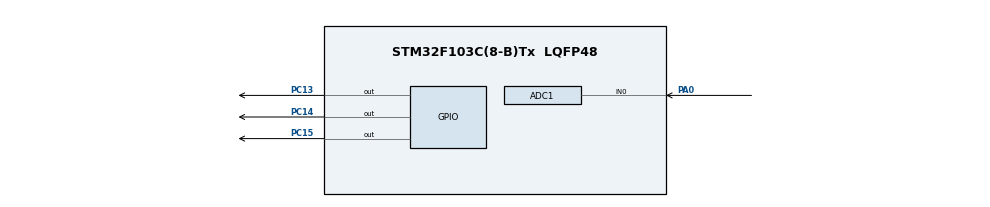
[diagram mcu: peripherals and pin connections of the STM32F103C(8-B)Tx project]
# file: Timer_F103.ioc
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Mcu.Family=STM32F1
NVIC.ADC1_2_IRQn=true\:1\:0\:true\:false\:true\:true\:true
ADC1.Rank-0\#ChannelRegularConversion=1
PD1-OSC_OUT.Mode=HSE-External-Oscillator
ADC1.ContinuousConvMode=ENABLE
PC13-TAMPER-RTC.Signal=GPIO_Output
NVIC.TIM1_UP_IRQn=true\:1\:0\:true\:false\:true\:true\:true
PD0-OSC_IN.Signal=RCC_OSC_IN
PC14-OSC32_IN.Signal=GPIO_Output
ProjectManager.StackSize=0x400
PA0-WKUP.Signal=ADCx_IN0
PD1-OSC_OUT.Signal=RCC_OSC_OUT
PA13.Signal=SYS_JTMS-SWDIO
TIM1.Prescaler=799
ProjectManager.TargetToolchain=STM32CubeIDE
PC15-OSC32_OUT.Signal=GPIO_Output
PD0-OSC_IN.Mode=HSE-External-Oscillator
ADC1.Channel-0\#ChannelRegularConversion=ADC_CHANNEL_0
board=custom
RCC.APB2Freq_Value=8000000
PA14.Mode=Serial_Wire
SH.ADCx_IN0.0=ADC1_IN0,IN0
PA13.Mode=Serial_Wire
Mcu.Name=STM32F103C(8-B)Tx
VP_TIM1_VS_ClockSourceINT.Mode=Internal
ADC1.SamplingTime-0\#ChannelRegularConversion=ADC_SAMPLETIME_239CYCLES_5
Mcu.Package=LQFP48
ADC1.master=1
PA14.Signal=SYS_JTCK-SWCLK
ProjectManager.HeapSize=0x200
NVIC.PriorityGroup=NVIC_PRIORITYGROUP_4
ADC1.NbrOfConversionFlag=1
TIM1.Period=2999
RCC.APB1Freq_Value=8000000

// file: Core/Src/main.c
/* USER CODE BEGIN Header */
/**
  ******************************************************************************
  * @file           : main.c
  * @brief          : Main program body
  ******************************************************************************
  * @attention
  *
  * <h2><center>&copy; Copyright (c) 2021 STMicroelectronics.
  * All rights reserved.</center></h2>
  *
  * This software component is licensed by ST under BSD 3-Clause license,
  * the "License"; You may not use this file except in compliance with the
  * License. You may obtain a copy of the License at:
  *                        opensource.org/licenses/BSD-3-Clause
  *
  ******************************************************************************
  */
/* USER CODE END Header */
#include "main.h"

ADC_HandleTypeDef hadc1;

TIM_HandleTypeDef htim1;

void SystemClock_Config(void);
static void MX_GPIO_Init(void);
static void MX_ADC1_Init(void);
static void MX_TIM1_Init(void);

/* USER CODE BEGIN 0 */
uint32_t adc;
volatile float temp;
uint8_t cout;
void HAL_ADC_ConvCpltCallback(ADC_HandleTypeDef* hadc){
	if(hadc->Instance == hadc1.Instance){
		adc = HAL_ADC_GetValue(hadc);
		temp = (adc*100*3.22)/4096;
		cout++;
	}
}
void HAL_TIM_PeriodElapsedCallback(TIM_HandleTypeDef *htim){
	if(htim->Instance == htim1.Instance){
		if(temp<30){
			HAL_GPIO_TogglePin(GPIOC, GPIO_PIN_15);
			HAL_GPIO_TogglePin(GPIOC, GPIO_PIN_13);
		}
	}
}
/* USER CODE END 0 */

int main(void)
{

  /* MCU Configuration--------------------------------------------------------*/

  /* Reset of all peripherals, Initializes the Flash interface and the Systick. */
  HAL_Init();

  /* Configure the system clock */
  SystemClock_Config();

  /* Initialize all configured peripherals */
  MX_GPIO_Init();
  MX_ADC1_Init();
  MX_TIM1_Init();
  /* USER CODE BEGIN 2 */
HAL_TIM_Base_Start_IT(&htim1);
HAL_ADC_Start_IT(&hadc1);
  /* USER CODE END 2 */

  /* Infinite loop */
  /* USER CODE BEGIN WHILE */
  while (1)
  {
 	  cout++;
	  HAL_GPIO_WritePin(GPIOC, GPIO_PIN_14, 1);
    /* USER CODE END WHILE */

  }
}

void SystemClock_Config(void)
{
  RCC_OscInitTypeDef RCC_OscInitStruct = {0};
  RCC_ClkInitTypeDef RCC_ClkInitStruct = {0};
  RCC_PeriphCLKInitTypeDef PeriphClkInit = {0};

  /** Initializes the RCC Oscillators according to the specified parameters
  * in the RCC_OscInitTypeDef structure.
  */
  RCC_OscInitStruct.OscillatorType = RCC_OSCILLATORTYPE_HSI;
  RCC_OscInitStruct.HSIState = RCC_HSI_ON;
  RCC_OscInitStruct.HSICalibrationValue = RCC_HSICALIBRATION_DEFAULT;
  RCC_OscInitStruct.PLL.PLLState = RCC_PLL_NONE;
  if (HAL_RCC_OscConfig(&RCC_OscInitStruct) != HAL_OK)
  {
    Error_Handler();
  }
  /** Initializes the CPU, AHB and APB buses clocks
  */
  RCC_ClkInitStruct.ClockType = RCC_CLOCKTYPE_HCLK|RCC_CLOCKTYPE_SYSCLK
                              |RCC_CLOCKTYPE_PCLK1|RCC_CLOCKTYPE_PCLK2;
  RCC_ClkInitStruct.SYSCLKSource = RCC_SYSCLKSOURCE_HSI;
  RCC_ClkInitStruct.AHBCLKDivider = RCC_SYSCLK_DIV1;
  RCC_ClkInitStruct.APB1CLKDivider = RCC_HCLK_DIV1;
  RCC_ClkInitStruct.APB2CLKDivider = RCC_HCLK_DIV1;

  if (HAL_RCC_ClockConfig(&RCC_ClkInitStruct, FLASH_LATENCY_0) != HAL_OK)
  {
    Error_Handler();
  }
  PeriphClkInit.PeriphClockSelection = RCC_PERIPHCLK_ADC;
  PeriphClkInit.AdcClockSelection = RCC_ADCPCLK2_DIV2;
  if (HAL_RCCEx_PeriphCLKConfig(&PeriphClkInit) != HAL_OK)
  {
    Error_Handler();
  }
}

static void MX_ADC1_Init(void)
{

  ADC_ChannelConfTypeDef sConfig = {0};

  /** Common config
  */
  hadc1.Instance = ADC1;
  hadc1.Init.ScanConvMode = ADC_SCAN_DISABLE;
  hadc1.Init.ContinuousConvMode = ENABLE;
  hadc1.Init.DiscontinuousConvMode = DISABLE;
  hadc1.Init.ExternalTrigConv = ADC_SOFTWARE_START;
  hadc1.Init.DataAlign = ADC_DATAALIGN_RIGHT;
  hadc1.Init.NbrOfConversion = 1;
  if (HAL_ADC_Init(&hadc1) != HAL_OK)
  {
    Error_Handler();
  }
  /** Configure Regular Channel
  */
  sConfig.Channel = ADC_CHANNEL_0;
  sConfig.Rank = ADC_REGULAR_RANK_1;
  sConfig.SamplingTime = ADC_SAMPLETIME_239CYCLES_5;
  if (HAL_ADC_ConfigChannel(&hadc1, &sConfig) != HAL_OK)
  {
    Error_Handler();
  }

}

static void MX_TIM1_Init(void)
{

  TIM_ClockConfigTypeDef sClockSourceConfig = {0};
  TIM_MasterConfigTypeDef sMasterConfig = {0};

  htim1.Instance = TIM1;
  htim1.Init.Prescaler = 7999;
  htim1.Init.CounterMode = TIM_COUNTERMODE_UP;
  htim1.Init.Period = 2999;
  htim1.Init.ClockDivision = TIM_CLOCKDIVISION_DIV1;
  htim1.Init.RepetitionCounter = 0;
  htim1.Init.AutoReloadPreload = TIM_AUTORELOAD_PRELOAD_DISABLE;
  if (HAL_TIM_Base_Init(&htim1) != HAL_OK)
  {
    Error_Handler();
  }
  sClockSourceConfig.ClockSource = TIM_CLOCKSOURCE_INTERNAL;
  if (HAL_TIM_ConfigClockSource(&htim1, &sClockSourceConfig) != HAL_OK)
  {
    Error_Handler();
  }
  sMasterConfig.MasterOutputTrigger = TIM_TRGO_RESET;
  sMasterConfig.MasterSlaveMode = TIM_MASTERSLAVEMODE_DISABLE;
  if (HAL_TIMEx_MasterConfigSynchronization(&htim1, &sMasterConfig) != HAL_OK)
  {
    Error_Handler();
  }

}

static void MX_GPIO_Init(void)
{
  GPIO_InitTypeDef GPIO_InitStruct = {0};

  /* GPIO Ports Clock Enable */
  __HAL_RCC_GPIOC_CLK_ENABLE();
  __HAL_RCC_GPIOD_CLK_ENABLE();
  __HAL_RCC_GPIOA_CLK_ENABLE();

  /*Configure GPIO pin Output Level */
  HAL_GPIO_WritePin(GPIOC, GPIO_PIN_13|GPIO_PIN_14|GPIO_PIN_15, GPIO_PIN_RESET);

  /*Configure GPIO pins : PC13 PC14 PC15 */
  GPIO_InitStruct.Pin = GPIO_PIN_13|GPIO_PIN_14|GPIO_PIN_15;
  GPIO_InitStruct.Mode = GPIO_MODE_OUTPUT_PP;
  GPIO_InitStruct.Pull = GPIO_NOPULL;
  GPIO_InitStruct.Speed = GPIO_SPEED_FREQ_LOW;
  HAL_GPIO_Init(GPIOC, &GPIO_InitStruct);

}

void Error_Handler(void)
{
  __disable_irq();
  while (1)
  {
  }
}

/************************ (C) COPYRIGHT STMicroelectronics *****END OF FILE****/
